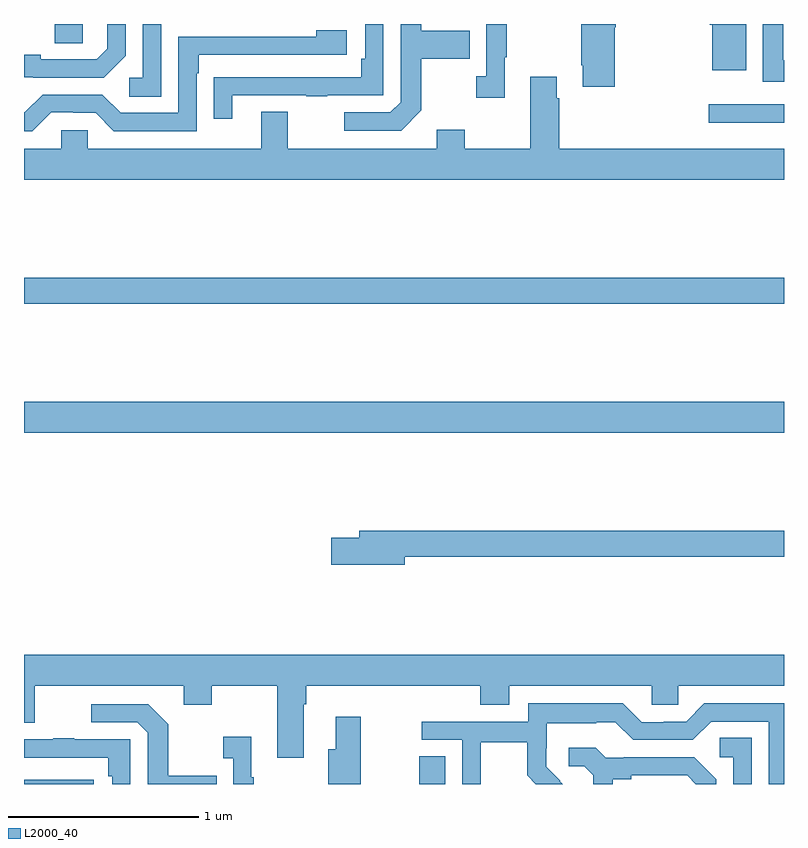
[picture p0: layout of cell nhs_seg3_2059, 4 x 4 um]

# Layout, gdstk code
import gdstk
lib = gdstk.Library(unit=1e-6, precision=1e-09)
def R(c, l, rs):  # rectangles x0, y0, x1, y1
    for r in rs: c.add(gdstk.rectangle(r[:2], r[2:], *l))
def P(c, l, *ps):  # polygons
    for p in ps: c.add(gdstk.Polygon(p, *l))
L2000_40 = (2000, 40)

nhs_seg3_2059 = lib.new_cell('nhs_seg3_2059')
R(nhs_seg3_2059, L2000_40, [(217,700.4,217.366,700.422), (219.079,700.4,219.217,700.547), (217,702.248,221,702.412), (217,702.928,221,703.064), (220.605,703.88,221,703.977), (217.163,704.299,217.308,704.4)])
P(nhs_seg3_2059, L2000_40, [(219.529,704.225),(219.541,704.225),(219.541,704.4),(219.432,704.4),(219.432,704.126),(219.381,704.126),(219.381,704.013),(219.529,704.013)],
  [(217.536,704.234),(217.536,704.4),(217.439,704.4),(217.439,704.271),(217.382,704.214),(217.087,704.214),(217.087,704.237),(217,704.237),(217,704.121),(217.048,704.121),(217.048,704.118),(217.42,704.118)],
  [(219.091,703.945),(219.091,704.218),(219.347,704.218),(219.347,704.365),(219.091,704.365),(219.091,704.4),(218.982,704.4),(218.982,703.989),(218.928,703.935),(218.685,703.935),(218.685,703.839),(218.985,703.839)],
  [(220.109,704.382),(220.114,704.382),(220.114,704.4),(219.934,704.4),(219.934,704.182),(219.941,704.182),(219.941,704.07),(220.109,704.07)],
  [(217.722,704.4),(217.626,704.4),(217.626,704.118),(217.554,704.118),(217.554,704.017),(217.722,704.017)],
  [(218.095,704.025),(218.485,704.025),(218.485,704.02),(218.597,704.02),(218.597,704.025),(218.892,704.025),(218.892,704.4),(218.796,704.4),(218.796,704.218),(218.776,704.218),(218.776,704.121),(218.101,704.121),(218.101,704.12),(217.999,704.12),(217.999,703.902),(218.095,703.902)],
  [(221,704.21),(220.996,704.21),(220.996,704.4),(220.889,704.4),(220.889,704.097),(221,704.097)],
  [(220.801,704.4),(220.61,704.4),(220.61,704.396),(220.622,704.396),(220.622,704.156),(220.801,704.156)],
  [(217.143,703.935),(217.259,703.935),(217.259,703.932),(217.377,703.932),(217.473,703.836),(217.908,703.836),(217.908,704.141),(217.921,704.141),(217.921,704.238),(218.698,704.238),(218.698,704.368),(218.537,704.368),(218.537,704.334),(217.812,704.334),(217.812,703.932),(217.509,703.932),(217.413,704.028),(217.098,704.028),(217.005,703.935),(217,703.935),(217,703.835),(217.043,703.835)],
  [(221,703.744),(219.818,703.744),(219.818,704.009),(219.805,704.009),(219.805,704.122),(219.665,704.122),(219.665,703.744),(219.321,703.744),(219.321,703.843),(219.173,703.843),(219.173,703.744),(218.389,703.744),(218.389,703.939),(218.249,703.939),(218.249,703.744),(217.335,703.744),(217.335,703.842),(217.197,703.842),(217.197,703.744),(217,703.744),(217,703.58),(221,703.58)],
  [(219.004,701.596),(221,701.596),(221,701.732),(218.765,701.732),(218.765,701.696),(218.616,701.696),(218.616,701.554),(219.004,701.554)],
  [(218.473,700.82),(218.486,700.82),(218.486,700.916),(219.401,700.916),(219.401,700.817),(219.553,700.817),(219.553,700.916),(220.305,700.916),(220.305,700.818),(220.443,700.818),(220.443,700.916),(221,700.916),(221,701.08),(217,701.08),(217,700.722),(217.057,700.722),(217.057,700.916),(217.841,700.916),(217.841,700.817),(217.989,700.817),(217.989,700.916),(218.333,700.916),(218.333,700.539),(218.473,700.539)],
  [(219.405,700.62),(219.649,700.62),(219.649,700.445),(219.694,700.4),(219.836,700.4),(219.821,700.415),(219.822,700.416),(219.748,700.49),(219.748,700.587),(219.75,700.587),(219.75,700.721),(220.013,700.721),(220.013,700.725),(220.113,700.725),(220.206,700.632),(220.521,700.632),(220.617,700.728),(220.92,700.728),(220.92,700.4),(221,700.4),(221,700.824),(220.581,700.824),(220.485,700.728),(220.367,700.728),(220.367,700.725),(220.251,700.725),(220.151,700.825),(219.654,700.825),(219.654,700.728),(219.093,700.728),(219.093,700.632),(219.306,700.632),(219.306,700.4),(219.405,700.4)],
  [(218.015,700.443),(217.759,700.443),(217.759,700.715),(217.653,700.821),(217.353,700.821),(217.353,700.725),(217.596,700.725),(217.65,700.671),(217.65,700.4),(218.015,700.4)],
  [(218.772,700.753),(218.642,700.753),(218.642,700.582),(218.602,700.582),(218.602,700.4),(218.772,700.4)],
  [(218.209,700.435),(218.197,700.435),(218.197,700.648),(218.049,700.648),(218.049,700.535),(218.1,700.535),(218.1,700.4),(218.209,700.4)],
  [(220.83,700.643),(220.662,700.643),(220.662,700.542),(220.734,700.542),(220.734,700.4),(220.83,700.4)],
  [(217.56,700.635),(217.265,700.635),(217.265,700.64),(217.153,700.64),(217.153,700.635),(217,700.635),(217,700.539),(217.444,700.539),(217.444,700.442),(217.464,700.442),(217.464,700.4),(217.56,700.4)],
  [(220.099,700.424),(220.195,700.424),(220.195,700.446),(220.49,700.446),(220.536,700.4),(220.644,700.4),(220.644,700.426),(220.528,700.542),(220.156,700.542),(220.156,700.539),(220.062,700.539),(220.01,700.591),(219.867,700.591),(219.867,700.494),(219.948,700.494),(219.995,700.447),(219.995,700.4),(220.099,700.4)])

lib.write_gds('nhs_seg3_2059.gds')
